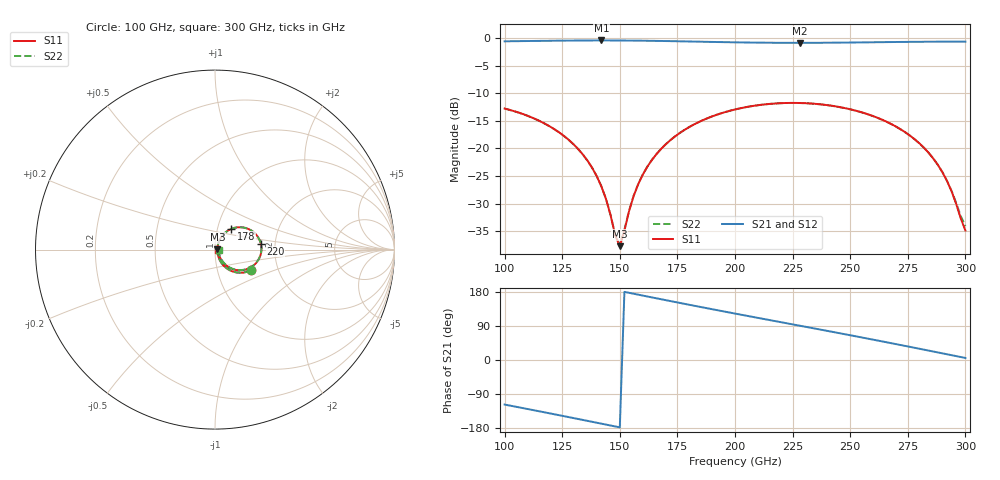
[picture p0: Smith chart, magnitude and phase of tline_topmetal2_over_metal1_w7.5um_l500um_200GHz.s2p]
#  GHZ S DB R 50
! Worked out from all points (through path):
!   101 points, 100 GHz to 300 GHz, reference 50 ohm
!   highest |S21| = -0.41 dB at 142 GHz (marker M1); lowest = -0.8 dB at 228 GHz (marker M2)
!   group delay of S21, straight-line fit = 3.27 ps
!   lowest |S11| = -37.7 dB at 150 GHz (marker M3), VSWR 1.03, Z = 51.3 + j0.113 ohm
!   |S11| at or under -10 dB: start of sweep to end of sweep
!   |S22| runs from -37.5 to -11.7 dB; largest |S21 - S12| = 1.6e-13
!   S11 on the Smith chart (normalised r, x): 100 GHz: 1.45, -0.35; 178 GHz: 1.17, +0.28; 220 GHz: 1.68, +0.12; 300 GHz: 1.04, -0.01
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100  -12.76 -29.9  -0.56 -117.6  -0.56 -117.6  -12.77 -29.9
120  -16.09 -51.0  -0.46 -141.3  -0.46 -141.3  -16.10 -50.9
134  -21.11 -63.6  -0.42 -158.2  -0.42 -158.2  -21.12 -63.3
142  -26.87 -64.8  -0.41 -168.0  -0.41 -168.0  -26.87 -64.3
146  -32.12 -54.7  -0.41 -172.9  -0.41 -172.9  -32.08 -53.7
148  -35.75 -36.0  -0.41 -175.3  -0.41 -175.3  -35.63 -34.8
150  -37.72 4.9  -0.42 -177.8  -0.42 -177.8  -37.46 5.2
154  -31.39 55.8  -0.43 177.3  -0.43 177.3  -31.30 55.2
158  -26.47 64.0  -0.44 172.4  -0.44 172.4  -26.43 63.6
162  -23.28 64.3  -0.46 167.6  -0.46 167.6  -23.26 64.0
168  -20.05 60.8  -0.50 160.3  -0.50 160.3  -20.04 60.6
178  -16.65 51.8  -0.58 148.3  -0.58 148.3  -16.65 51.7
200  -12.93 28.9  -0.75 122.6  -0.75 122.6  -12.93 28.9
220  -11.78 7.4  -0.83 99.7  -0.83 99.7  -11.79 7.5
228  -11.75 -1.2  -0.84 90.6  -0.84 90.6  -11.76 -1.1
234  -11.88 -7.6  -0.83 83.8  -0.83 83.8  -11.89 -7.5
250  -12.89 -24.7  -0.78 65.3  -0.78 65.3  -12.90 -24.5
268  -15.61 -43.5  -0.70 44.2  -0.70 44.2  -15.62 -43.0
280  -19.06 -54.3  -0.65 29.7  -0.65 29.7  -19.08 -53.5
288  -22.94 -58.5  -0.63 20.0  -0.63 20.0  -22.95 -57.1
294  -27.77 -54.4  -0.63 12.7  -0.63 12.7  -27.69 -51.8
300  -34.88 -10.3  -0.63 5.4  -0.63 5.4  -34.07 -7.7
